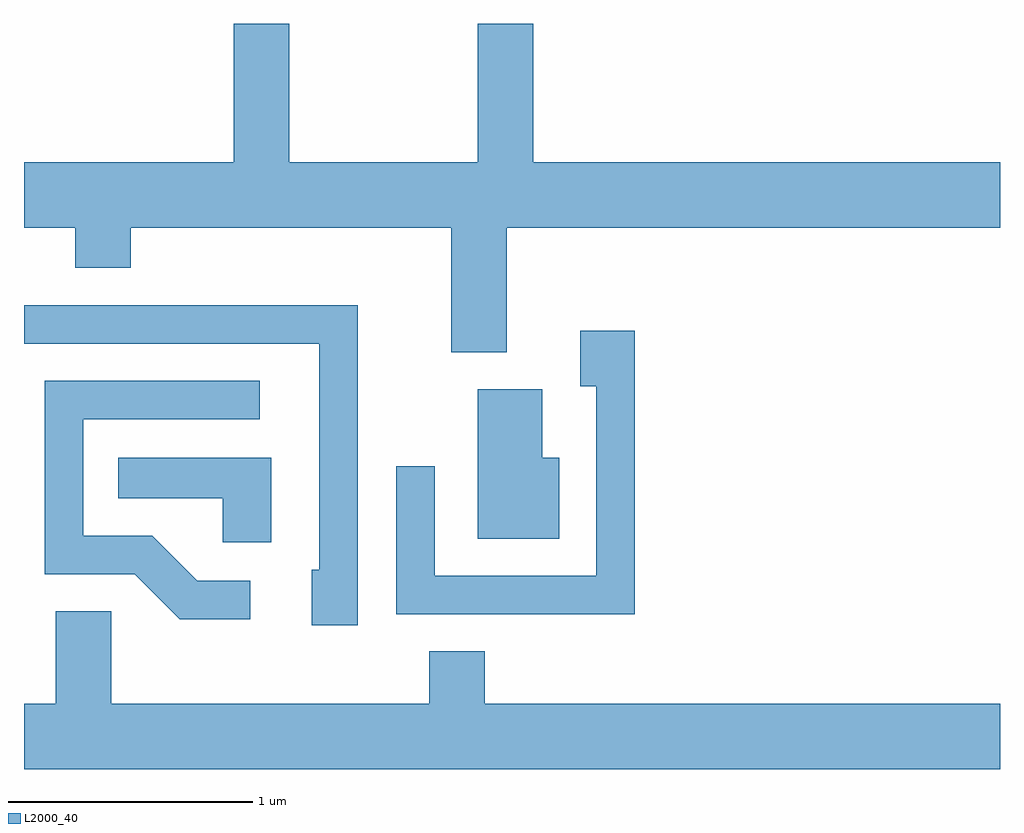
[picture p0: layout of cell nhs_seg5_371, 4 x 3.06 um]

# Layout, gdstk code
import gdstk
lib = gdstk.Library(unit=1e-6, precision=1e-09)
def P(c, l, *ps):  # polygons
    for p in ps: c.add(gdstk.Polygon(p, *l))
L2000_40 = (2000, 40)

nhs_seg5_371 = lib.new_cell('nhs_seg5_371')
P(nhs_seg5_371, L2000_40, [(197.589,1461.236),(199.611,1461.236),(199.611,1461.504),(197.699,1461.504),(197.699,1462.072),(197.471,1462.072),(197.471,1461.504),(196.699,1461.504),(196.699,1462.072),(196.471,1462.072),(196.471,1461.504),(195.611,1461.504),(195.611,1461.236),(195.821,1461.236),(195.821,1461.071),(196.049,1461.071),(196.049,1461.236),(197.361,1461.236),(197.361,1460.726),(197.589,1460.726)],
  [(196.979,1460.919),(195.611,1460.919),(195.611,1460.761),(196.821,1460.761),(196.821,1459.834),(196.791,1459.834),(196.791,1459.606),(196.979,1459.606)],
  [(198.114,1460.814),(197.891,1460.814),(197.891,1460.586),(197.956,1460.586),(197.956,1459.809),(197.294,1459.809),(197.294,1460.258),(197.136,1460.258),(197.136,1459.651),(198.114,1459.651)],
  [(196.538,1459.789),(196.322,1459.789),(196.137,1459.974),(195.854,1459.974),(195.854,1460.451),(196.578,1460.451),(196.578,1460.609),(195.696,1460.609),(195.696,1459.816),(196.064,1459.816),(196.249,1459.631),(196.538,1459.631)],
  [(197.804,1460.294),(197.734,1460.294),(197.734,1460.574),(197.471,1460.574),(197.471,1459.961),(197.804,1459.961)],
  [(196.624,1460.294),(195.998,1460.294),(195.998,1460.126),(196.426,1460.126),(196.426,1459.946),(196.624,1459.946)],
  [(199.611,1459.284),(197.499,1459.284),(197.499,1459.499),(197.271,1459.499),(197.271,1459.284),(195.969,1459.284),(195.969,1459.664),(195.741,1459.664),(195.741,1459.284),(195.611,1459.284),(195.611,1459.016),(199.611,1459.016)])

lib.write_gds('nhs_seg5_371.gds')
